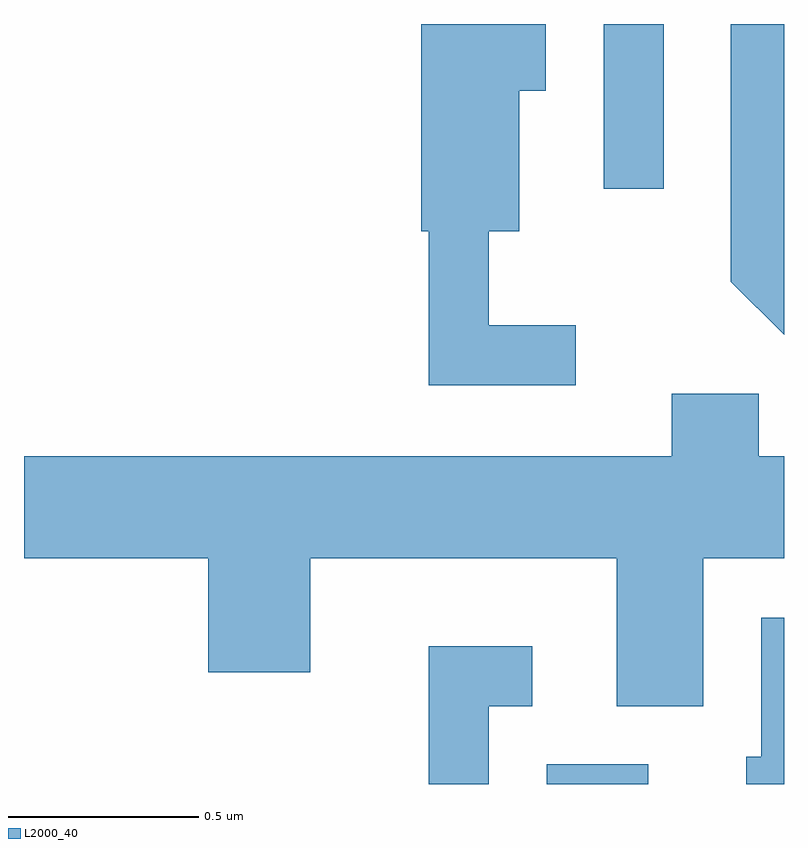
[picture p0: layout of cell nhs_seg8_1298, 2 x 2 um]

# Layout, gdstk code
import gdstk
lib = gdstk.Library(unit=1e-6, precision=1e-09)
def R(c, l, rs):  # rectangles x0, y0, x1, y1
    for r in rs: c.add(gdstk.rectangle(r[:2], r[2:], *l))
def P(c, l, *ps):  # polygons
    for p in ps: c.add(gdstk.Polygon(p, *l))
L2000_40 = (2000, 40)

nhs_seg8_1298 = lib.new_cell('nhs_seg8_1298')
R(nhs_seg8_1298, L2000_40, [(195.986,1871.342,196.254,1871.394), (196.136,1872.908,196.294,1873.342)])
P(nhs_seg8_1298, L2000_40, [(196.063,1872.549),(195.834,1872.549),(195.834,1872.796),(195.914,1872.796),(195.914,1873.166),(195.984,1873.166),(195.984,1873.342),(195.656,1873.342),(195.656,1872.796),(195.676,1872.796),(195.676,1872.391),(196.063,1872.391)],
  [(196.611,1873.342),(196.471,1873.342),(196.471,1872.664),(196.611,1872.524)],
  [(196.399,1871.936),(196.611,1871.936),(196.611,1872.204),(196.544,1872.204),(196.544,1872.369),(196.316,1872.369),(196.316,1872.204),(194.611,1872.204),(194.611,1871.936),(195.096,1871.936),(195.096,1871.636),(195.364,1871.636),(195.364,1871.936),(196.171,1871.936),(196.171,1871.546),(196.399,1871.546)],
  [(196.611,1871.779),(196.551,1871.779),(196.551,1871.414),(196.511,1871.414),(196.511,1871.342),(196.611,1871.342)],
  [(195.834,1871.546),(195.948,1871.546),(195.948,1871.704),(195.676,1871.704),(195.676,1871.342),(195.834,1871.342)])

lib.write_gds('nhs_seg8_1298.gds')
